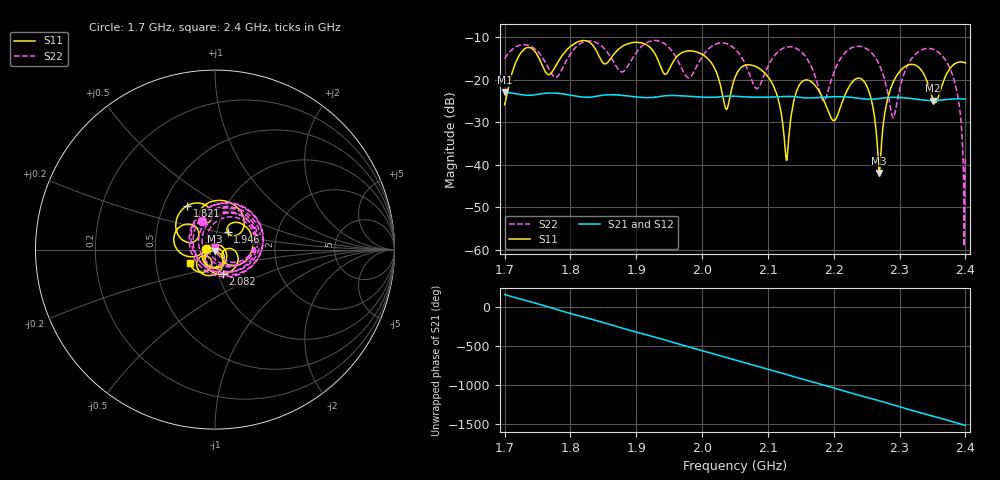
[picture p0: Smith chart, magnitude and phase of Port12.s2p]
# Hz S RI R 50
! CMT, CMT808U, 21440046, 21.4.3/4
! Date: 9/9/2026 12:56:01 AM
! Data: Format (Calibration Info)
! Freq	S11:Re/Im(F2)	S41:Re/Im(F2)	S14:Re/Im(F2)	S44:Re/Im(F2)
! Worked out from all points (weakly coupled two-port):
!   3001 points, 1.7 GHz to 2.4 GHz, reference 50 ohm
!   highest |S21| = -22.90 dB at 1.7 GHz (marker M1); lowest = -24.9 dB at 2.351 GHz (marker M2)
!   lowest |S11| = -41.9 dB at 2.269 GHz (marker M3), VSWR 1.02, Z = 49.8 - j0.783 ohm
!   |S11| at or under -10 dB: start of sweep to end of sweep
!   |S22| runs from -59.1 to -10.7 dB; largest |S21 - S12| = 0.0011
!   S11 on the Smith chart (normalised r, x): 1.7 GHz: 0.90, +0.00; 1.821 GHz: 0.66, +0.35; 1.946 GHz: 1.13, +0.22; 2.082 GHz: 1.05, -0.29; 2.4 GHz: 0.75, -0.11
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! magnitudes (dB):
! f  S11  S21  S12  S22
! 1.7 GHz  -25.9  -22.9  -22.9  -15.0
! 1.73 GHz  -12.8  -23.6  -23.6  -11.7
! 1.778 GHz  -16.7  -23.2  -23.2  -19.4
! 1.817 GHz  -10.8  -24.0  -24.0  -11.3
! 1.821 GHz  -10.8  -24.1  -24.1  -11.0
! 1.934 GHz  -15.5  -24.0  -24.0  -10.8
! 1.946 GHz  -18.5  -23.7  -23.7  -11.9
! 1.98 GHz  -13.2  -23.9  -23.9  -19.5
! 2.036 GHz  -26.9  -23.9  -23.9  -11.5
! 2.05 GHz  -19.4  -23.9  -23.9  -12.7
! 2.082 GHz  -16.9  -24.1  -24.1  -21.9
! 2.128 GHz  -38.9  -23.9  -23.9  -12.3
! 2.144 GHz  -22.5  -24.0  -24.0  -12.7
! 2.167 GHz  -20.5  -24.3  -24.3  -17.1
! 2.2 GHz  -29.6  -24.0  -24.0  -18.3
! 2.245 GHz  -20.2  -24.5  -24.5  -12.3
! 2.269 GHz  -41.9  -24.4  -24.4  -16.4
! 2.284 GHz  -23.5  -24.2  -24.2  -24.2
! 2.32 GHz  -16.4  -24.4  -24.4  -14.7
! 2.351 GHz  -24.5  -24.9  -24.9  -12.8
! 2.384 GHz  -16.2  -24.5  -24.5  -20.8
! 2.4 GHz  -16.0  -24.5  -24.5  -38.4
